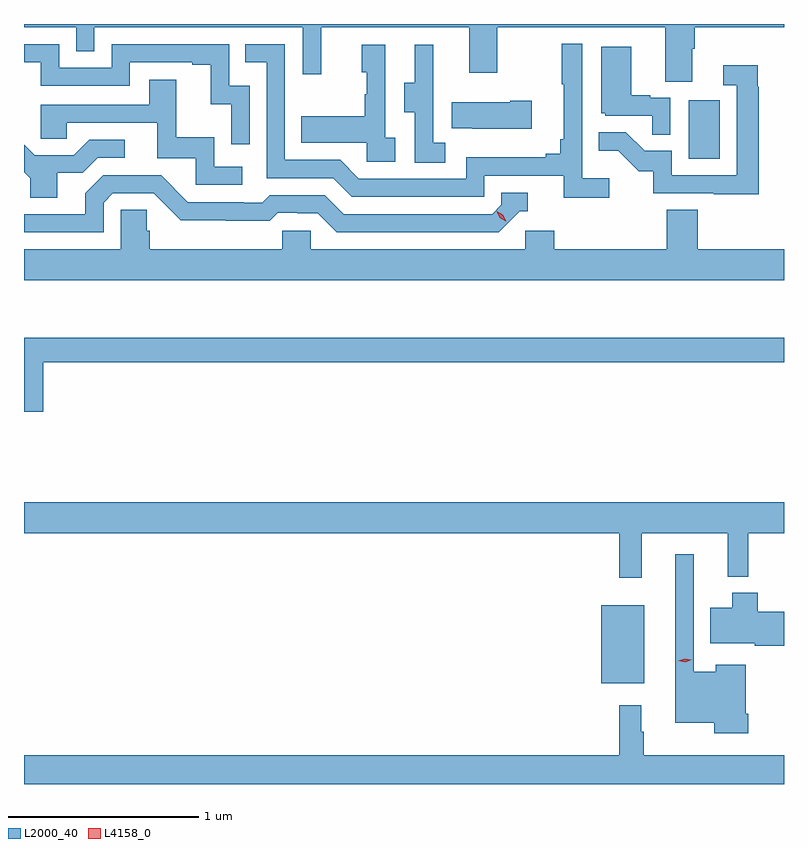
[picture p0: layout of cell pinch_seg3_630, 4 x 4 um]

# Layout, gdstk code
import gdstk
lib = gdstk.Library(unit=1e-6, precision=1e-09)
def R(c, l, rs):  # rectangles x0, y0, x1, y1
    for r in rs: c.add(gdstk.rectangle(r[:2], r[2:], *l))
def P(c, l, *ps):  # polygons
    for p in ps: c.add(gdstk.Polygon(p, *l))
L2000_40 = (2000, 40)
L4158_0 = (4158, 0)

pinch_seg3_630 = lib.new_cell('pinch_seg3_630')
R(pinch_seg3_630, L2000_40, [(1050.902,682.811,1051.129,683.221), (1051.364,685.572,1051.528,685.879)])
P(pinch_seg3_630, L2000_40, [(1051.381,686.152),(1051.394,686.152),(1051.394,686.264),(1051.865,686.264),(1051.865,686.281),(1047.865,686.281),(1047.865,686.264),(1048.14,686.264),(1048.14,686.137),(1048.236,686.137),(1048.236,686.264),(1049.331,686.264),(1049.331,686.016),(1049.429,686.016),(1049.429,686.264),(1050.209,686.264),(1050.209,686.025),(1050.357,686.025),(1050.357,686.264),(1051.241,686.264),(1051.241,685.978),(1051.381,685.978)],
  [(1050.946,685.468),(1050.804,685.468),(1050.804,686.176),(1050.696,686.176),(1050.696,685.963),(1050.707,685.963),(1050.707,685.675),(1050.688,685.675),(1050.688,685.598),(1050.611,685.598),(1050.611,685.579),(1050.192,685.579),(1050.192,685.467),(1049.628,685.467),(1049.529,685.566),(1049.238,685.566),(1049.238,686.175),(1049.029,686.175),(1049.029,686.079),(1049.142,686.079),(1049.142,685.47),(1049.492,685.47),(1049.591,685.371),(1050.288,685.371),(1050.288,685.482),(1050.707,685.482),(1050.707,685.366),(1050.946,685.366)],
  [(1049.052,685.956),(1048.944,685.956),(1048.944,686.175),(1048.326,686.175),(1048.326,686.052),(1048.05,686.052),(1048.05,686.175),(1047.865,686.175),(1047.865,686.079),(1047.954,686.079),(1047.954,685.956),(1048.422,685.956),(1048.422,686.079),(1048.751,686.079),(1048.751,686.067),(1048.847,686.067),(1048.847,685.859),(1048.956,685.859),(1048.956,685.647),(1049.052,685.647)],
  [(1049.818,685.682),(1049.766,685.682),(1049.766,686.173),(1049.642,686.173),(1049.642,686.028),(1049.668,686.028),(1049.668,685.91),(1049.658,685.91),(1049.658,685.795),(1049.323,685.795),(1049.323,685.655),(1049.67,685.655),(1049.67,685.557),(1049.818,685.557)],
  [(1050.082,685.655),(1050.018,685.655),(1050.018,685.959),(1050.02,685.959),(1050.02,686.173),(1049.921,686.173),(1049.921,685.971),(1049.867,685.971),(1049.867,685.816),(1049.922,685.816),(1049.922,685.552),(1050.082,685.552)],
  [(1051.266,685.893),(1051.16,685.893),(1051.16,685.906),(1051.06,685.906),(1051.06,686.161),(1050.902,686.161),(1050.902,685.812),(1050.924,685.812),(1050.924,685.797),(1051.171,685.797),(1051.171,685.699),(1051.266,685.699)],
  [(1051.733,685.952),(1051.726,685.952),(1051.726,686.065),(1051.545,686.065),(1051.545,685.959),(1051.617,685.959),(1051.617,685.485),(1051.275,685.485),(1051.275,685.614),(1051.131,685.614),(1051.033,685.712),(1050.889,685.712),(1050.889,685.613),(1050.993,685.613),(1051.1,685.506),(1051.177,685.506),(1051.177,685.389),(1051.495,685.389),(1051.495,685.384),(1051.733,685.384)],
  [(1049.014,685.53),(1048.866,685.53),(1048.866,685.684),(1048.667,685.684),(1048.667,685.987),(1048.523,685.987),(1048.523,685.857),(1047.954,685.857),(1047.954,685.677),(1048.091,685.677),(1048.091,685.761),(1048.565,685.761),(1048.565,685.575),(1048.77,685.575),(1048.77,685.434),(1049.014,685.434)],
  [(1050.538,685.878),(1050.425,685.878),(1050.425,685.87),(1050.115,685.87),(1050.115,685.733),(1050.223,685.733),(1050.223,685.73),(1050.538,685.73)],
  [(1048.039,685.498),(1048.174,685.498),(1048.254,685.578),(1048.396,685.578),(1048.396,685.671),(1048.208,685.671),(1048.127,685.59),(1047.921,685.59),(1047.865,685.646),(1047.865,685.502),(1047.899,685.468),(1047.899,685.366),(1048.039,685.366)],
  [(1048.284,685.341),(1048.332,685.389),(1048.548,685.389),(1048.69,685.247),(1048.926,685.247),(1048.926,685.245),(1049.159,685.245),(1049.201,685.287),(1049.304,685.287),(1049.304,685.284),(1049.411,685.284),(1049.51,685.185),(1050.363,685.185),(1050.474,685.296),(1050.517,685.296),(1050.517,685.392),(1050.378,685.392),(1050.378,685.329),(1050.33,685.281),(1049.547,685.281),(1049.448,685.38),(1049.159,685.38),(1049.12,685.341),(1049.021,685.341),(1049.021,685.344),(1048.728,685.344),(1048.587,685.485),(1048.281,685.485),(1048.187,685.391),(1048.187,685.281),(1047.865,685.281),(1047.865,685.185),(1048.284,685.185)],
  [(1051.865,685.096),(1051.412,685.096),(1051.412,685.304),(1051.247,685.304),(1051.247,685.096),(1050.656,685.096),(1050.656,685.194),(1050.504,685.194),(1050.504,685.096),(1049.373,685.096),(1049.373,685.194),(1049.223,685.194),(1049.223,685.096),(1048.526,685.096),(1048.526,685.194),(1048.511,685.194),(1048.511,685.304),(1048.374,685.304),(1048.374,685.096),(1047.865,685.096),(1047.865,684.932),(1051.865,684.932)],
  [(1047.965,684.502),(1051.865,684.502),(1051.865,684.631),(1047.865,684.631),(1047.865,684.241),(1047.965,684.241)],
  [(1051.115,683.6),(1051.568,683.6),(1051.568,683.372),(1051.678,683.372),(1051.678,683.6),(1051.865,683.6),(1051.865,683.764),(1047.865,683.764),(1047.865,683.6),(1050.997,683.6),(1050.997,683.367),(1051.115,683.367)],
  [(1051.677,682.651),(1051.663,682.651),(1051.663,682.909),(1051.505,682.909),(1051.505,682.873),(1051.389,682.873),(1051.389,683.491),(1051.292,683.491),(1051.292,682.604),(1051.498,682.604),(1051.498,682.547),(1051.677,682.547)],
  [(1051.865,683.187),(1051.727,683.187),(1051.727,683.287),(1051.592,683.287),(1051.592,683.209),(1051.478,683.209),(1051.478,683.021),(1051.71,683.021),(1051.71,683.009),(1051.865,683.009)],
  [(1051.865,682.432),(1051.126,682.432),(1051.126,682.556),(1051.114,682.556),(1051.114,682.696),(1050.997,682.696),(1050.997,682.432),(1047.865,682.432),(1047.865,682.281),(1051.865,682.281)])
P(pinch_seg3_630, L4158_0, [(1051.344,682.922),(1051.308,682.929),(1051.308,682.929),(1051.308,682.929),(1051.342,682.941),(1051.379,682.934),(1051.379,682.934),(1051.379,682.934)],
  [(1050.401,685.243),(1050.37,685.262),(1050.354,685.295),(1050.354,685.296),(1050.354,685.296),(1050.385,685.276),(1050.402,685.243),(1050.402,685.243)])

lib.write_gds('pinch_seg3_630.gds')
